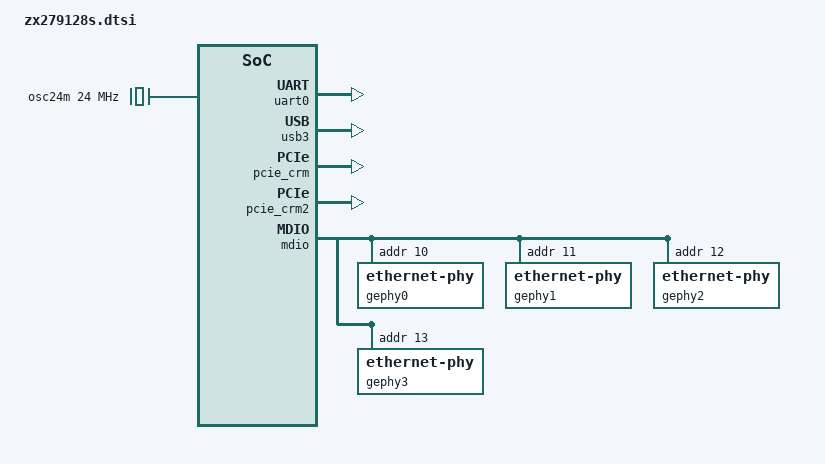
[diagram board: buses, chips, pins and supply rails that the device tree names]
// SPDX-License-Identifier: GPL-2.0
/*
 * ZTE ZXIC ZX279128S SoC — minimal boot DTSI
 *
 * Reverse-engineered from stock H3600 V9.0.20P72 firmware.
 * Strategy for first boot: only Cortex-A9 standard peripherals + UART.
 * No clock controller (UART uses direct osc24m), no NAND/USB/etc yet.
 */

#include <dt-bindings/interrupt-controller/arm-gic.h>

/ {
	#address-cells = <1>;
	#size-cells = <1>;
	compatible = "zte,zx279128s";
	interrupt-parent = <&gic>;

	cpus {
		#address-cells = <1>;
		#size-cells = <0>;

		cpu@0 {
			compatible = "arm,cortex-a9";
			device_type = "cpu";
			reg = <0>;
			next-level-cache = <&l2cc>;
		};

		/* CPU1 disabled for first boot — needs SMP enable-method */
	};

	clocks {
		osc24m: osc24m {
			compatible = "fixed-clock";
			#clock-cells = <0>;
			clock-frequency = <24000000>;
			clock-output-names = "osc24m";
		};

		/* Real UART input clock from LSP0 (lb_lsp0_25m_wclk) — verified
		 * from stock IBRD=13 FBRD=36: clk = 115200 * 16 * 13.5625 = 25 MHz
		 */
		uart_clk: uart_clk {
			compatible = "fixed-clock";
			#clock-cells = <0>;
			clock-frequency = <25000000>;
			clock-output-names = "uart_clk_25m";
		};
	};

	soc {
		#address-cells = <1>;
		#size-cells = <1>;
		compatible = "simple-bus";
		ranges;

		gic: interrupt-controller@801000 {
			compatible = "arm,cortex-a9-gic";
			#interrupt-cells = <3>;
			interrupt-controller;
			reg = <0x00801000 0x1000>,
			      <0x00800100 0x100>;
		};

		global_timer: timer@800200 {
			compatible = "arm,cortex-a9-global-timer";
			reg = <0x00800200 0x20>;
			interrupts = <GIC_PPI 11 IRQ_TYPE_LEVEL_HIGH>;
			clocks = <&osc24m>;
		};

		/* PL310 L2 cache controller. Currently DISABLED — stock kernel
		 * runtime-patches __l2c210_op_pa_range via patch.ko to work
		 * around a vendor-specific PL310 erratum. Until that erratum is
		 * identified and mirrored (DT property or kernel patch), we keep
		 * L2 off. ARM Cortex-A9 runs fine on L1-only; ~30-50% perf hit
		 * but no correctness impact. Driver's DMA path uses
		 * dma_alloc_coherent (uncached) so L2 state doesn't gate I/O.
		 * Re-enable once patch.ko RE is complete.
		 * See findings/iter18_l2_pl310_disabled_2026-05-27.md.
		 */
		l2cc: cache-controller@c00000 {
			compatible = "arm,pl310-cache";
			reg = <0x00c00000 0x1000>;
			cache-unified;
			cache-level = <2>;
			arm,data-latency = <2 2 2>;
			arm,tag-latency = <2 2 2>;
			status = "disabled";
		};

		uart0: serial@94404000 {
			compatible = "arm,pl011", "arm,primecell";
			arm,primecell-periphid = <0x0008c011>;	/* triggers vendor_zte */
			reg = <0x94404000 0x1000>;
			interrupts = <GIC_SPI 0x0b IRQ_TYPE_LEVEL_HIGH>;
			clocks = <&uart_clk>, <&osc24m>;	/* uartclk=25MHz, apb_pclk=24MHz */
			clock-names = "uartclk", "apb_pclk";
			status = "okay";
		};

		usb_dwc2: usb@9000000 {
			compatible = "snps,dwc2";
			reg = <0x09000000 0x10000>;
			interrupts = <GIC_SPI 0x2c IRQ_TYPE_LEVEL_HIGH>;
			dr_mode = "host";
			phy_type = "utmi";
			g-rx-fifo-size = <512>;
			g-np-tx-fifo-size = <128>;
			g-tx-fifo-size = <128 128 64 64 64 32 32 16 16 16>;
			status = "disabled";	/* needs SoC glue not yet RE'd */
		};

		usb3: usb@9100000 {
			compatible = "zte,zx279128s-dwc3";
			reg = <0x09100000 0x100000>,	/* DWC3 core */
			      <0x09300000 0x100000>;	/* SoC USB ctrl extra */
			reg-names = "dwc3", "ctrl";
			zte,topcrm = <&topcrm>;

			#address-cells = <1>;
			#size-cells = <1>;
			ranges;

			status = "okay";

			dwc3@9100000 {
				compatible = "snps,dwc3";
				reg = <0x09100000 0x100000>;
				interrupts = <GIC_SPI 0x32 IRQ_TYPE_LEVEL_HIGH>;
				dr_mode = "host";
				snps,dis_u3_susphy_quirk;
				snps,dis_u2_susphy_quirk;
			};
		};

		topcrm: syscon@94000000 {
			compatible = "zte,zx279128s-topcrm", "syscon";
			reg = <0x94000000 0x1000>;
		};

		pcie_crm: syscon@94100000 {
			compatible = "zte,zx279128s-pcie-crm", "syscon";
			reg = <0x94100000 0x1000>;
		};

		pcie_crm2: syscon@94200000 {
			compatible = "zte,zx279128s-pcie-crm2", "syscon";
			reg = <0x94200000 0x1000>;
		};

		pcie0: pcie@f000000 {
			compatible = "zte,zx279128s-pcie";
			reg = <0x0f000000 0x4000>,	/* DBI */
			      <0x09500000 0x4000>,	/* SoC ctrl (LTSSM mirror) */
			      <0x17ff0000 0x10000>;	/* CFG window (carved from MEM) */
			reg-names = "dbi", "soc_ctrl", "config";

			#address-cells = <3>;
			#size-cells = <2>;
			device_type = "pci";
			/* MEM window 0x10000000-0x17fefff (~127 MiB), CFG @ 0x17ff0000 */
			ranges = <0x82000000 0 0x10000000  0x10000000  0 0x07ff0000>;
			bus-range = <0x00 0xff>;

			interrupts = <GIC_SPI 0x3f IRQ_TYPE_LEVEL_HIGH>,	/* main */
				     <GIC_SPI 0x3b IRQ_TYPE_LEVEL_HIGH>;	/* msi */
			interrupt-names = "main", "msi";

			/* Required by of_irq_parse_pci so endpoint INTx are routed.
			 * MT7915/16 use MSI so this is mostly to silence the warning,
			 * but is required by the PCI core regardless.
			 */
			#interrupt-cells = <1>;
			interrupt-map-mask = <0 0 0 7>;
			interrupt-map = <0 0 0 1 &gic GIC_SPI 0x3f IRQ_TYPE_LEVEL_HIGH>,
					<0 0 0 2 &gic GIC_SPI 0x3f IRQ_TYPE_LEVEL_HIGH>,
					<0 0 0 3 &gic GIC_SPI 0x3f IRQ_TYPE_LEVEL_HIGH>,
					<0 0 0 4 &gic GIC_SPI 0x3f IRQ_TYPE_LEVEL_HIGH>;

			zte,port-id = <0>;
			zte,topcrm = <&topcrm>;
			zte,pcie-crm = <&pcie_crm>;
			zte,pcie-crm2 = <&pcie_crm2>;

			status = "disabled";
		};

		/* Integrated ethernet block. Layout cross-checked against the
		 * sibling ZX279128R reference DTS in refs/zte-zx279128R/:
		 *   PON-side regs    : 0x92000000..0x921bffff
		 *   NPP/TM/PP/IDM    : 0x921c0000..0x923bffff
		 * The driver currently maps both windows but also still
		 * devm_ioremaps the hardcoded addresses for the PON window
		 * and TOPCRM — Phase 10b (task #71) migrates the driver to
		 * read from these DT properties instead.
		 */
		eth: ethernet@921c0000 {
			compatible = "zte,zx279128s-eth";
			reg = <0x92000000 0x1c0000>,	/* pon (MAC[0..4]) */
			      <0x921c0000 0x200000>,	/* npp + tm + pp + idm */
			      <0x94100000 0x1000>,	/* sys_ctrl (gap [A02]) */
			      <0x94200000 0x1000>,	/* pin_mux  (gap [A02]) */
			      <0x9fe00000 0x100000>;	/* pon_serdes (gap [A02]) */
			reg-names = "pon", "npp", "sys_ctrl", "pin_mux", "pon_serdes";
			/* IRQs verified against stock + sibling DTS:
			 *   PON main : GIC_SPI 0x42 (66) — pon (defensive, 0 fires on stock)
			 *   NPP main : GIC_SPI 0x23 (35) — pon_npp
			 *   TM       : GIC_SPI 0x24 (36) — pon_tm = CPU↔switch traffic ⭐
			 *   PP       : GIC_SPI 0x25 (37) — pon_pp (defensive)
			 *   IDM      : GIC_SPI 0x26 (38) — WiFi forwarding only
			 */
			interrupts = <GIC_SPI 0x26 IRQ_TYPE_LEVEL_HIGH>,	/* idm */
				     <GIC_SPI 0x23 IRQ_TYPE_LEVEL_HIGH>,	/* npp */
				     <GIC_SPI 0x24 IRQ_TYPE_LEVEL_HIGH>,	/* tm */
				     <GIC_SPI 0x42 IRQ_TYPE_LEVEL_HIGH>,	/* pon  (gap [A07]) */
				     <GIC_SPI 0x25 IRQ_TYPE_LEVEL_HIGH>;	/* pp   (gap [A08]) */
			interrupt-names = "idm", "npp", "tm", "pon", "pp";
			zte,topcrm = <&topcrm>;
			/* Phase 14: phylink-style PHY handles. We list all four
			 * GePHYs so the driver can call phy_init_hw() on each
			 * during probe — that runs the vendor LDO + TX DAC
			 * power-up sequence in drivers/net/phy/phy-zte-gephy.c.
			 */
			zte,gephys = <&gephy0>, <&gephy1>, <&gephy2>, <&gephy3>;
			status = "disabled";
		};

		/* MDIO bus to the four built-in GePHYs. Cross-checked with
		 * the ZX279128R sibling DTS in refs/.
		 */
		mdio: mdio@9a101000 {
			compatible = "zte,zx279128s-mdio";
			reg = <0x9a101000 0x18>;
			#address-cells = <1>;
			#size-cells = <0>;
			status = "okay";

			/* Four GePHYs (PHY ID 0x84b95031) confirmed at MDIO
			 * addresses 10..13 by Phase 12 boot scan, matching
			 * stock's uni_phy[]={0a,0b,0c,0d,...} table. phylib
			 * will pick up the phy-zte-gephy driver by ID.
			 *
			 * Per-PHY link-change interrupts at GIC SPI 0x47..0x4a
			 * (= 71..74 decimal). Verified via /proc/interrupts
			 * on stock and via cable-swap counter increments on
			 * each gphy[i] line.
			 */
			gephy0: ethernet-phy@a {
				reg = <10>;
				interrupt-parent = <&gic>;
				interrupts = <GIC_SPI 0x47 IRQ_TYPE_LEVEL_HIGH>;
			};
			gephy1: ethernet-phy@b {
				reg = <11>;
				interrupt-parent = <&gic>;
				interrupts = <GIC_SPI 0x48 IRQ_TYPE_LEVEL_HIGH>;
			};
			gephy2: ethernet-phy@c {
				reg = <12>;
				interrupt-parent = <&gic>;
				interrupts = <GIC_SPI 0x49 IRQ_TYPE_LEVEL_HIGH>;
			};
			gephy3: ethernet-phy@d {
				reg = <13>;
				interrupt-parent = <&gic>;
				interrupts = <GIC_SPI 0x4a IRQ_TYPE_LEVEL_HIGH>;
			};
		};

		/* DSA view of the on-chip 4-port switch. The `eth` node above is the
		 * DSA conduit (CPU-port DMA). DRAFT — disabled until the P1 conduit
		 * refactor is HW-verified (probe ordering + the lanN bring-up need
		 * bench testing). Enable per-board with `&switch_dsa { status="okay"; }`.
		 * See tasks/00.01.eth-driver/findings/dsa_conduit_refactor_guide.md.
		 */
		switch_dsa: switch {
			compatible = "zte,zx279128-switch";
			reg = <0x921c0000 0x1000>;	/* NPP greg window (shared w/ conduit) */
			status = "disabled";

			ethernet-ports {
				#address-cells = <1>;
				#size-cells = <0>;

				port@0 {
					reg = <0>;
					label = "lan0";
					phy-mode = "internal";
					phy-handle = <&gephy0>;
				};
				port@1 {
					reg = <1>;
					label = "lan1";
					phy-mode = "internal";
					phy-handle = <&gephy1>;
				};
				port@2 {
					reg = <2>;
					label = "lan2";
					phy-mode = "internal";
					phy-handle = <&gephy2>;
				};
				port@3 {
					reg = <3>;
					label = "lan3";
					phy-mode = "internal";
					phy-handle = <&gephy3>;
				};

				port@5 {
					reg = <5>;
					phy-mode = "internal";
					ethernet = <&eth>;	/* DSA conduit = the sw netdev */
					fixed-link {
						speed = <1000>;
						full-duplex;
					};
				};
			};
		};

		pcie1: pcie@f100000 {
			compatible = "zte,zx279128s-pcie";
			reg = <0x0f100000 0x4000>,
			      <0x09600000 0x4000>,
			      <0x27ff0000 0x10000>;	/* CFG window */
			reg-names = "dbi", "soc_ctrl", "config";

			#address-cells = <3>;
			#size-cells = <2>;
			device_type = "pci";
			ranges = <0x82000000 0 0x20000000  0x20000000  0 0x07ff0000>;
			bus-range = <0x00 0xff>;

			interrupts = <GIC_SPI 0x4e IRQ_TYPE_LEVEL_HIGH>,
				     <GIC_SPI 0x4a IRQ_TYPE_LEVEL_HIGH>;
			interrupt-names = "main", "msi";

			zte,port-id = <1>;
			zte,topcrm = <&topcrm>;
			zte,pcie-crm = <&pcie_crm>;
			zte,pcie-crm2 = <&pcie_crm2>;

			status = "disabled";	/* setup_port1 hangs kernel — debug later */
		};
	};
};
